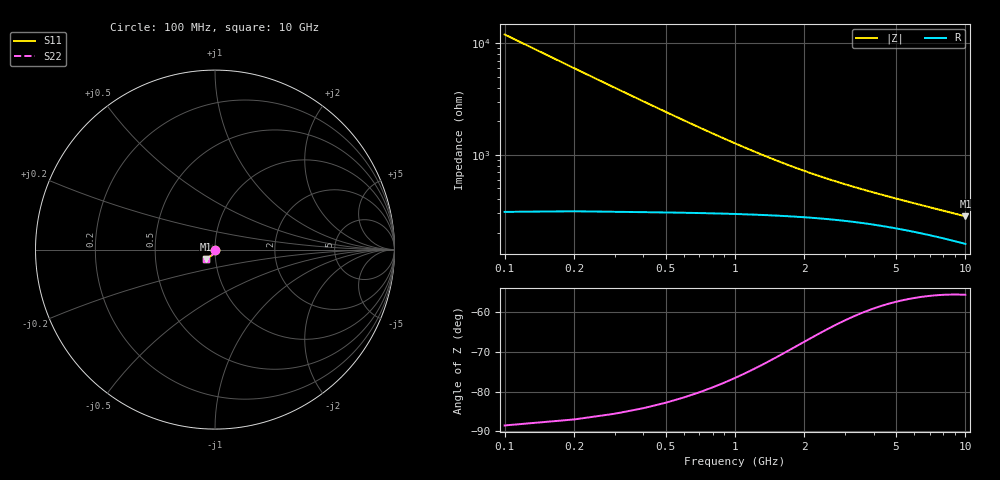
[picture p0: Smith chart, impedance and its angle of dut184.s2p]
! Touchstone file exported from HFSS 2024.1.0
!  File:  C:/UserFiles/LocalFiles/RDL_TSV_Batchsim/temp_TSV1_184_1778766525.aedt
!  Generated:  09:54:16 PM May 14, 2026
!  Design:  TSV1
!  Project:  temp_TSV1_184_1778766525
!  Setup:  Setup1
!  Solution:  Sweep
! Variables:
!  dtsv = 19.4um
!  hbump = 3um
!  htsv = 56um
!  lrdl = 252.1521522um
!  p = 40
!  p1 = 43.94um
!  t = 500um
!  trdl = 3um
!  wrdl = 24.89489489um
# GHz S MA R 50.000000
! Terminal data exported
! Port[1] = TSV22_T1
! Port[2] = TSV22_T2
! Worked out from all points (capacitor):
!   100 points, 100 MHz to 10 GHz, reference 50 ohm
!   read as one part in shunt: C = 133 fF near 100 MHz
!   lowest |Z| = 282 ohm at 10 GHz (marker M1)
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0.1  0.001895 -89.5  0.9999 -0.1  0.9999 -0.1  0.001895 -89.5
! Gamma 0 0 0 0
! Port Impedance 50 0 50 0
0.2  0.00381 -92.3  0.9997 -0.3  0.9997 -0.3  0.00381 -92.3
0.3  0.005706 -94.2  0.9994 -0.4  0.9994 -0.4  0.005706 -94.2
0.4  0.007579 -95.9  0.999 -0.5  0.999 -0.5  0.007579 -95.9
0.5  0.009424 -97.5  0.9985 -0.6  0.9985 -0.6  0.009424 -97.5
0.6  0.01124 -99.1  0.9979 -0.7  0.9979 -0.7  0.01124 -99.1
0.7  0.01301 -100.6  0.9973 -0.9  0.9973 -0.9  0.01301 -100.6
0.8  0.01474 -102.1  0.9966 -1.0  0.9966 -1.0  0.01474 -102.1
0.9  0.01642 -103.5  0.9958 -1.1  0.9958 -1.1  0.01642 -103.5
1.1  0.01964 -106.2  0.9942 -1.3  0.9942 -1.3  0.01964 -106.2
1.4  0.02408 -109.8  0.9915 -1.5  0.9915 -1.5  0.02408 -109.8
1.6  0.02679 -112.0  0.9897 -1.7  0.9897 -1.7  0.02679 -112.0
1.8  0.02929 -114.0  0.9878 -1.8  0.9878 -1.8  0.02929 -114.0
2.1  0.03271 -116.7  0.9851 -2.0  0.9851 -2.0  0.03271 -116.7
2.5  0.03673 -119.6  0.9817 -2.3  0.9817 -2.3  0.03673 -119.6
2.9  0.04023 -122.0  0.9786 -2.5  0.9786 -2.5  0.04023 -122.0
3.4  0.04407 -124.4  0.9752 -2.7  0.9752 -2.7  0.04407 -124.4
4.2  0.04931 -127.1  0.9704 -3.0  0.9704 -3.0  0.04931 -127.1
5.1  0.05434 -129.3  0.9659 -3.3  0.9659 -3.3  0.05434 -129.3
6.7  0.06186 -131.6  0.9594 -3.8  0.9594 -3.8  0.06186 -131.6
8.4  0.06855 -133.1  0.954 -4.3  0.954 -4.3  0.06855 -133.1
10  0.07405 -134.0  0.9498 -4.8  0.9498 -4.8  0.07405 -134.0
